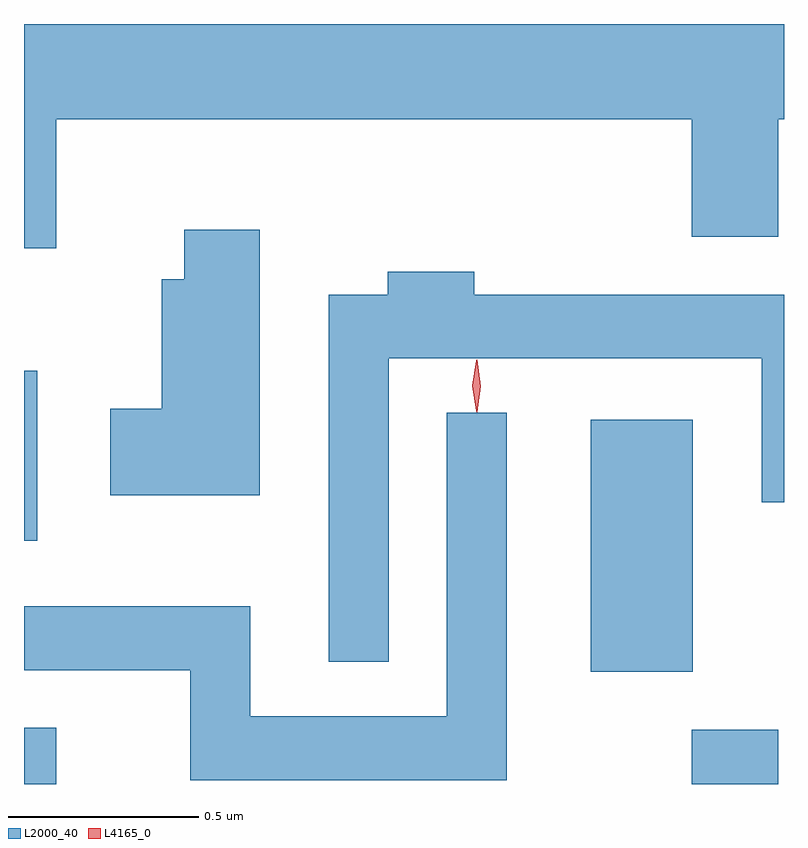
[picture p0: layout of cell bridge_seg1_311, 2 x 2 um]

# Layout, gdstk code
import gdstk
lib = gdstk.Library(unit=1e-6, precision=1e-09)
def R(c, l, rs):  # rectangles x0, y0, x1, y1
    for r in rs: c.add(gdstk.rectangle(r[:2], r[2:], *l))
def P(c, l, *ps):  # polygons
    for p in ps: c.add(gdstk.Polygon(p, *l))
L2000_40 = (2000, 40)
L4165_0 = (4165, 0)

bridge_seg1_311 = lib.new_cell('bridge_seg1_311')
R(bridge_seg1_311, L2000_40, [(839.804,875.626,839.889,875.774), (841.561,875.626,841.789,875.769), (841.296,875.921,841.564,876.584), (839.804,876.266,839.839,876.714)])
P(bridge_seg1_311, L2000_40, [(839.889,877.376),(841.561,877.376),(841.561,877.066),(841.789,877.066),(841.789,877.376),(841.804,877.376),(841.804,877.626),(839.804,877.626),(839.804,877.036),(839.889,877.036)],
  [(840.424,877.084),(840.226,877.084),(840.226,876.954),(840.166,876.954),(840.166,876.614),(840.031,876.614),(840.031,876.386),(840.424,876.386)],
  [(840.764,876.746),(841.746,876.746),(841.746,876.368),(841.804,876.368),(841.804,876.914),(840.989,876.914),(840.989,876.974),(840.761,876.974),(840.761,876.914),(840.606,876.914),(840.606,875.948),(840.764,875.948)],
  [(841.074,876.603),(840.916,876.603),(840.916,875.804),(840.399,875.804),(840.399,876.094),(839.804,876.094),(839.804,875.926),(840.241,875.926),(840.241,875.636),(841.074,875.636)])
P(bridge_seg1_311, L4165_0, [(840.996,876.604),(840.996,876.604),(840.986,876.673),(840.996,876.743),(840.996,876.743),(840.997,876.743),(841.006,876.673),(840.997,876.604)],
  [(840.994,876.607),(840.994,876.608),(840.984,876.674),(840.994,876.74),(840.994,876.741),(840.995,876.74),(841.004,876.674),(840.995,876.608)])

lib.write_gds('bridge_seg1_311.gds')
